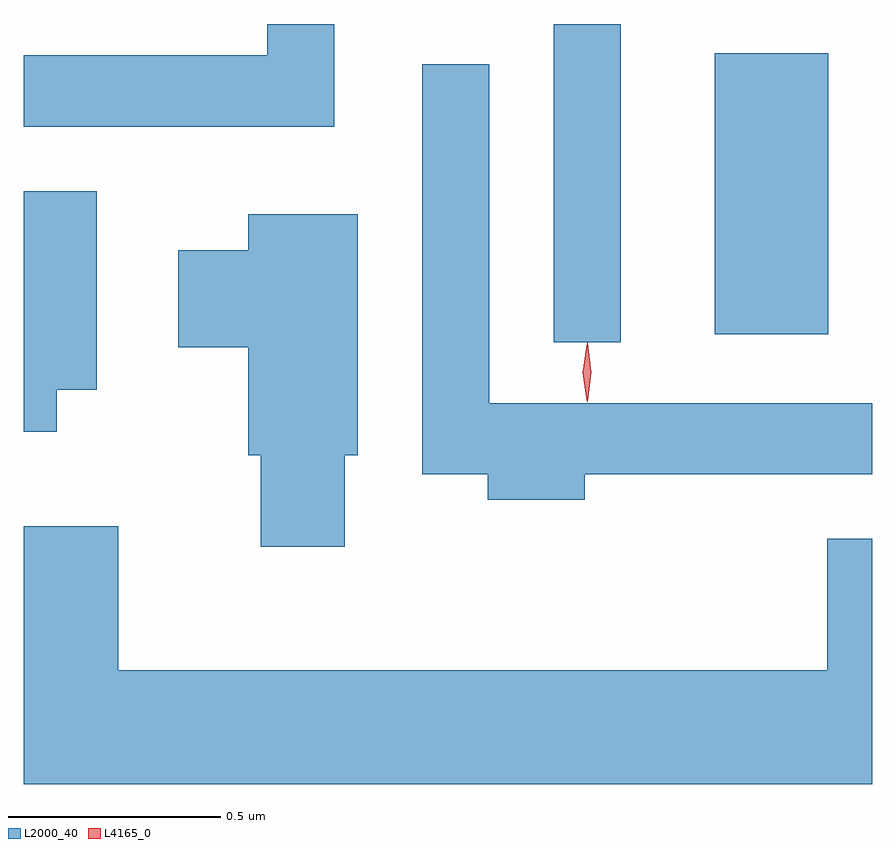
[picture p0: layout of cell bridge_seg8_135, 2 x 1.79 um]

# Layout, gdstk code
import gdstk
lib = gdstk.Library(unit=1e-6, precision=1e-09)
def R(c, l, rs):  # rectangles x0, y0, x1, y1
    for r in rs: c.add(gdstk.rectangle(r[:2], r[2:], *l))
def P(c, l, *ps):  # polygons
    for p in ps: c.add(gdstk.Polygon(p, *l))
L2000_40 = (2000, 40)
L4165_0 = (4165, 0)

bridge_seg8_135 = lib.new_cell('bridge_seg8_135')
R(bridge_seg8_135, L2000_40, [(1686.366,1841.898,1686.524,1842.648), (1686.746,1841.916,1687.014,1842.579)])
P(bridge_seg8_135, L2000_40, [(1685.849,1842.648),(1685.691,1842.648),(1685.691,1842.574),(1685.117,1842.574),(1685.117,1842.406),(1685.849,1842.406)],
  [(1686.439,1841.586),(1687.117,1841.586),(1687.117,1841.754),(1686.214,1841.754),(1686.214,1842.553),(1686.056,1842.553),(1686.056,1841.586),(1686.211,1841.586),(1686.211,1841.526),(1686.439,1841.526)],
  [(1685.194,1841.786),(1685.289,1841.786),(1685.289,1842.254),(1685.117,1842.254),(1685.117,1841.686),(1685.194,1841.686)],
  [(1685.874,1841.631),(1685.904,1841.631),(1685.904,1842.199),(1685.646,1842.199),(1685.646,1842.114),(1685.481,1842.114),(1685.481,1841.886),(1685.646,1841.886),(1685.646,1841.631),(1685.676,1841.631),(1685.676,1841.416),(1685.874,1841.416)],
  [(1687.117,1841.434),(1687.011,1841.434),(1687.011,1841.124),(1685.339,1841.124),(1685.339,1841.464),(1685.117,1841.464),(1685.117,1840.856),(1687.117,1840.856)])
P(bridge_seg8_135, L4165_0, [(1686.445,1841.757),(1686.445,1841.757),(1686.435,1841.827),(1686.445,1841.896),(1686.445,1841.896),(1686.446,1841.896),(1686.455,1841.827),(1686.446,1841.757)],
  [(1686.444,1841.76),(1686.444,1841.76),(1686.435,1841.826),(1686.444,1841.892),(1686.445,1841.893),(1686.445,1841.892),(1686.454,1841.826),(1686.445,1841.76)])

lib.write_gds('bridge_seg8_135.gds')
